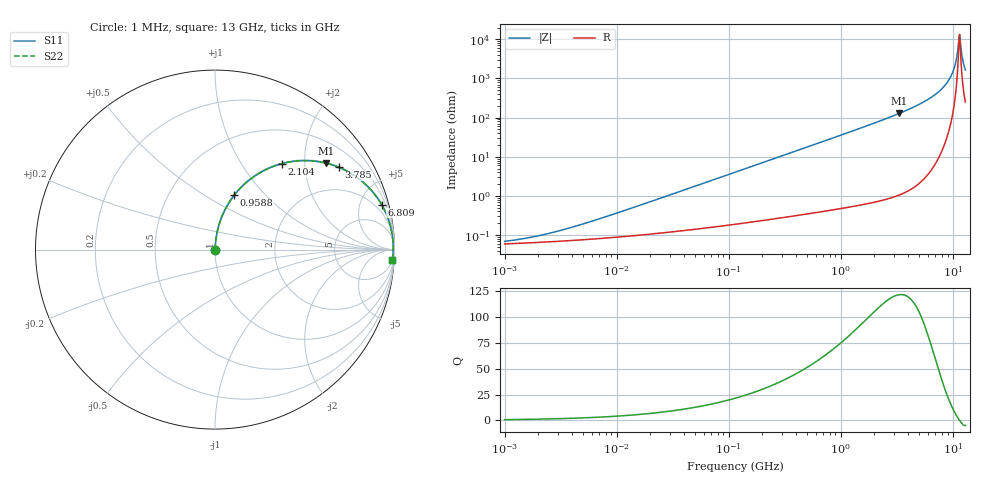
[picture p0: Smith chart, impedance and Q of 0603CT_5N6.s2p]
# MHz  S  MA  R  50
!Freq  MagS11  AngS11  MagS21  AngS21  MagS12  AngS12  MagS22  AngS22
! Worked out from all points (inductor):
!   953 points, 1 MHz to 13 GHz, reference 50 ohm
!   read as one part in series: L = 5.6 nH near 6.961 MHz
!   highest Q = 122 at 3.326 GHz (marker M1), where L = 6.11 nH
!   self-resonance near 11.42 GHz
!   S11 on the Smith chart (normalised r, x): 1 MHz: 1.00, +0.00; 958.8 MHz: 1.01, +0.68; 2.104 GHz: 1.01, +1.53; 3.785 GHz: 1.02, +2.99; 6.809 GHz: 1.12, +7.36; 13 GHz: 6, -33
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1  0.0006891 30.7  0.9994 -0.0  0.9994 -0.0  0.0006891 30.7
2.109128  0.000988 48.6  0.9993 -0.0  0.9993 -0.0  0.000988 48.6
4.865175  0.001869 66.1  0.9992 -0.1  0.9992 -0.1  0.001869 66.1
23.66992  0.008392 82.0  0.9989 -0.5  0.9989 -0.5  0.008392 82.0
114.0181  0.04006 85.0  0.9973 -2.3  0.9973 -2.3  0.04006 85.0
554.7181  0.1914 77.9  0.978 -11.0  0.978 -11.0  0.1914 77.9
958.8439  0.3204 70.5  0.9429 -18.7  0.9429 -18.7  0.3204 70.5
2104.439  0.6054 52.2  0.7903 -37.3  0.7903 -37.3  0.6054 52.2
2698.801  0.7058 44.6  0.7024 -44.9  0.7024 -44.9  0.7058 44.6
3325.98  0.7841 37.9  0.6142 -51.6  0.6142 -51.6  0.7841 37.9
3785.275  0.8277 33.7  0.5543 -55.9  0.5543 -55.9  0.8277 33.7
5256.575  0.916 23.1  0.3921 -66.3  0.3921 -66.3  0.916 23.1
6808.611  0.9612 15.1  0.2611 -74.0  0.2611 -74.0  0.9612 15.1
8390.878  0.9829 9.0  0.1563 -79.2  0.1563 -79.2  0.9829 9.0
9645.098  0.9905 5.0  0.08746 -81.3  0.08746 -81.3  0.9905 5.0
10444.26  0.9925 2.8  0.04852 -79.7  0.04852 -79.7  0.9925 2.8
10760.73  0.9928 1.9  0.03411 -76.8  0.03411 -76.8  0.9928 1.9
11197.66  0.9928 0.8  0.01564 -62.3  0.01564 -62.3  0.9928 0.8
11422.73  0.9927 0.2  0.008426 -29.7  0.008426 -29.7  0.9927 0.2
11768.85  0.9923 -0.6  0.01291 53.0  0.01291 53.0  0.9923 -0.6
12492.87  0.9908 -2.3  0.04047 75.7  0.04047 75.7  0.9908 -2.3
13000  0.9892 -3.4  0.05971 77.9  0.05971 77.9  0.9892 -3.4
